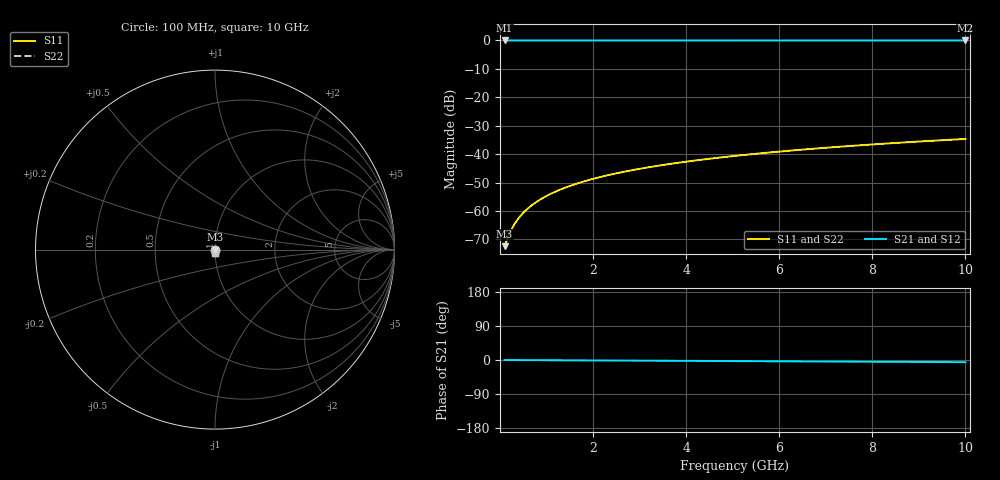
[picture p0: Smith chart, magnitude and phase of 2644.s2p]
# Hz S RI R 50.00
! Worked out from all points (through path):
!   100 points, 100 MHz to 10 GHz, reference 50 ohm
!   highest |S21| = 0.00 dB at 100 MHz (marker M1); lowest = 0.0 dB at 10 GHz (marker M2)
!   lowest |S11| = -72.4 dB at 100 MHz (marker M3), VSWR 1.00, Z = 50 - j0.0183 ohm
!   |S11| at or under -10 dB: start of sweep to end of sweep
!   |S22| runs from -72.4 to -34.7 dB; largest |S21 - S12| = 0
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1e8  0.000156 -0.000183  0.9998 -0.000986  0.9998 -0.000986  0.000156 -0.000183
2e8  0.000156 -0.000366  0.9998 -0.00197  0.9998 -0.00197  0.000156 -0.000366
3e8  0.000155 -0.000549  0.9998 -0.00296  0.9998 -0.00296  0.000155 -0.000549
4e8  0.000154 -0.000732  0.9998 -0.00394  0.9998 -0.00394  0.000154 -0.000732
5e8  0.000152 -0.000915  0.9998 -0.00493  0.9998 -0.00493  0.000152 -0.000915
6e8  0.00015 -0.0011  0.9998 -0.00591  0.9998 -0.00591  0.00015 -0.0011
7e8  0.000148 -0.00128  0.9998 -0.0069  0.9998 -0.0069  0.000148 -0.00128
8e8  0.000145 -0.00146  0.9998 -0.00789  0.9998 -0.00789  0.000145 -0.00146
9e8  0.000142 -0.00165  0.9998 -0.00887  0.9998 -0.00887  0.000142 -0.00165
1.1e9  0.000134 -0.00201  0.9998 -0.0108  0.9998 -0.0108  0.000134 -0.00201
1.4e9  0.00012 -0.00257  0.9997 -0.0138  0.9997 -0.0138  0.00012 -0.00257
1.8e9  9.56e-05 -0.0033  0.9997 -0.0178  0.9997 -0.0178  9.56e-05 -0.0033
2.1e9  7.34e-05 -0.00385  0.9996 -0.0207  0.9996 -0.0207  7.34e-05 -0.00385
2.5e9  3.87e-05 -0.00459  0.9995 -0.0247  0.9995 -0.0247  3.87e-05 -0.00459
2.9e9  -1.89e-06 -0.00533  0.9994 -0.0286  0.9994 -0.0286  -1.89e-06 -0.00533
3.4e9  -6.1e-05 -0.00625  0.9992 -0.0336  0.9992 -0.0336  -6.1e-05 -0.00625
4.2e9  -0.000175 -0.00773  0.9989 -0.0415  0.9989 -0.0415  -0.000175 -0.00773
5.1e9  -0.000332 -0.0094  0.9985 -0.0505  0.9985 -0.0505  -0.000332 -0.0094
5.9e9  -0.000497 -0.0109  0.998 -0.0585  0.998 -0.0585  -0.000497 -0.0109
6.7e9  -0.000686 -0.0124  0.9975 -0.0664  0.9975 -0.0664  -0.000686 -0.0124
8.4e9  -0.00117 -0.0155  0.9962 -0.0835  0.9962 -0.0835  -0.00117 -0.0155
1e10  -0.00172 -0.0184  0.9946 -0.0995  0.9946 -0.0995  -0.00172 -0.0184
